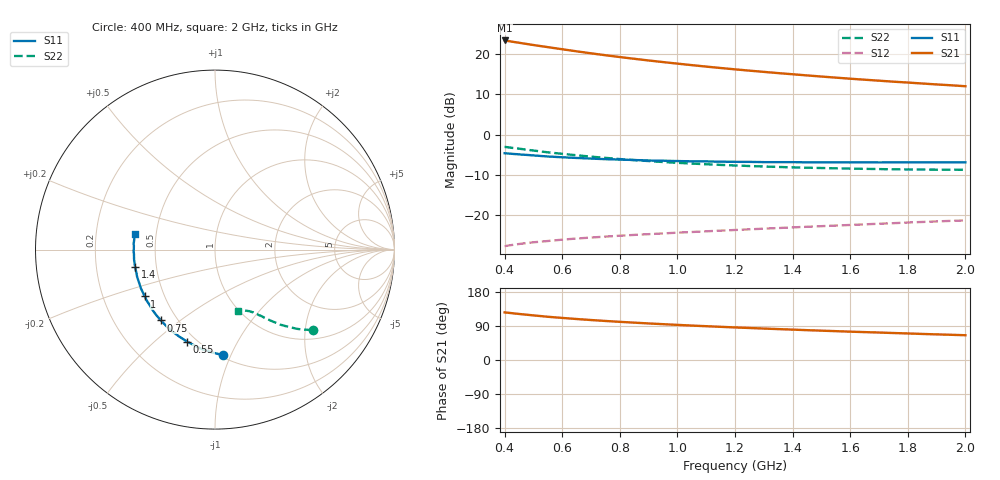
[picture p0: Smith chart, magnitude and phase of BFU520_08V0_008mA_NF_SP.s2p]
! Filename:  P:\Prog\Test\Noise\ATS_data\Testdata_Net\06 Compressed Noise after Statistics\BFU520_APG2013_37_A05_08p0V_008mA_NF_CM01_D.sf
! Date/Time: Fri 26/Apr/2013 14:13:12
! BFU520_APG2013_37_A05_08p0V_1to20mA_NF_CM01_Bias5_R.sf
! Noise Parameter Data File
! BFU520_APG2013_37_A05_08p0V_1to20mA_NF_CM01
! Date/time: Tue Apr 23 18:16:22 2013
! VAR V_out= 8.000000
! VAR I_out= 8.005000
! VAR V_in= 0.825700
! VAR I_in= 0.088000
! Device data file deembeded for feedlines and parallel
! Original file: \06 Compressed Noise after Statistics\BFU520_APG2013_37_A05_08p0V_008mA_NF_CM01_R.sf
! Feed-files: PR047V01_250413_Feed1.s2p, PR047V01_250413_Feed2.s2p
! Parallel-file: PR047V01_250413_Par.s2p
# MHz S MA R 50
!  Freq-MHz  S11-mag  S11-arg  S21-mag  S21-arg  S12-mag  S12-arg  S22-mag  S22-arg
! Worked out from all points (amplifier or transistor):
!   37 points, 400 MHz to 2 GHz, reference 50 ohm
!   highest |S21| = 23.3 dB at 400 MHz (marker M1)
!   |S21| within 3 dB of that: start of sweep to 681.8 MHz
!   unconditionally stable (mu >= 1): 1.967 GHz to end of sweep
!   at 500 MHz: K = 0.41, MSG = 24.4 dB, |S12| = -26.6 dB
!   at 1.1 GHz: K = 0.75, MSG = 20.4 dB, |S12| = -23.9 dB
!   at 2 GHz: K = 1.01, MAG = 15.9 dB, |S12| = -21.2 dB
!   lowest NFmin = 0.80 dB at 420 MHz
!   S11 on the Smith chart (normalised r, x): 400 MHz: 0.52, -0.93; 550 MHz: 0.45, -0.64; 750 MHz: 0.41, -0.43; 1 GHz: 0.39, -0.26; 1.4 GHz: 0.38, -0.09; 2 GHz: 0.38, +0.08
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400  0.5882 -85.7  14.56 125.7  0.04173 54.1  0.7048 -39.3
433  0.5754 -90.7  13.94 122.9  0.04352 52.8  0.6802 -41.0
460  0.5653 -94.6  13.46 120.7  0.04487 51.8  0.6623 -42.4
500  0.5522 -100.1  12.79 117.8  0.0466 50.5  0.6351 -44.0
550  0.5358 -106.8  12.04 114.1  0.04833 49.2  0.603 -45.8
600  0.5239 -112.4  11.34 111.0  0.05023 48.2  0.5783 -47.4
650  0.514 -117.8  10.69 108.2  0.0519 47.4  0.5548 -48.9
700  0.5049 -122.6  10.1 105.5  0.05333 46.8  0.5337 -50.0
750  0.4964 -127.4  9.566 103.0  0.05479 46.3  0.5154 -51.2
800  0.4906 -131.6  9.084 100.7  0.05618 46.0  0.4982 -52.2
850  0.4847 -135.6  8.643 98.6  0.0575 45.7  0.4832 -53.0
900  0.4778 -139.6  8.239 96.5  0.05876 45.6  0.4703 -54.0
950  0.4749 -143.1  7.872 94.5  0.05999 45.5  0.4578 -54.7
1000  0.4705 -146.3  7.531 92.7  0.06126 45.5  0.4476 -55.4
1050  0.4671 -149.8  7.215 90.8  0.06244 45.5  0.438 -56.3
1200  0.4603 -158.4  6.401 85.9  0.06615 45.8  0.4147 -58.3
1300  0.4564 -163.5  5.953 83.0  0.06865 46.2  0.403 -59.5
1400  0.4561 -167.9  5.565 80.2  0.07122 46.6  0.3932 -60.7
1500  0.4545 -172.7  5.215 77.4  0.07376 46.8  0.386 -62.2
1600  0.4523 -177.1  4.903 74.8  0.07631 47.1  0.3796 -63.6
1750  0.4525 177.2  4.505 71.2  0.0803 47.6  0.3719 -65.6
2000  0.4534 168.9  3.958 65.4  0.08689 48.2  0.3664 -69.3
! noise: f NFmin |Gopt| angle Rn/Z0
400  0.857  0.0812  44.63  0.1202
460  0.8089  0.05869  65.3  0.103
600  0.8683  0.07442  46.46  0.1214
800  0.8692  0.06273  92.16  0.1027
1000  0.8948  0.07956  97.62  0.1035
1200  0.9327  0.0934  114.6  0.1002
1400  0.9321  0.1084  128.4  0.0986
1600  0.9646  0.1213  143.3  0.0936
1800  0.9666  0.1476  159.6  0.0815
2000  1.039  0.163  165.6  0.0886
